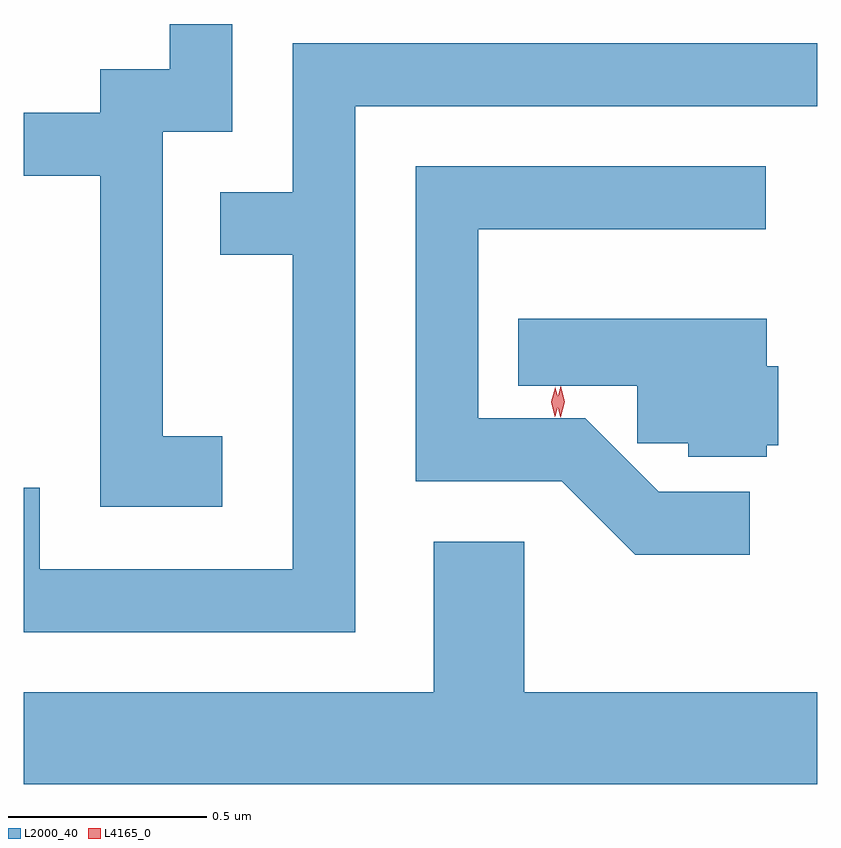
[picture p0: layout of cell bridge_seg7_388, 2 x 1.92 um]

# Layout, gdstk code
import gdstk
lib = gdstk.Library(unit=1e-6, precision=1e-09)
def P(c, l, *ps):  # polygons
    for p in ps: c.add(gdstk.Polygon(p, *l))
L2000_40 = (2000, 40)
L4165_0 = (4165, 0)

bridge_seg7_388 = lib.new_cell('bridge_seg7_388')
P(bridge_seg7_388, L2000_40, [(1104.669,1748.529),(1104.519,1748.529),(1104.519,1749.296),(1104.694,1749.296),(1104.694,1749.568),(1104.536,1749.568),(1104.536,1749.454),(1104.361,1749.454),(1104.361,1749.344),(1104.168,1749.344),(1104.168,1749.186),(1104.361,1749.186),(1104.361,1748.351),(1104.669,1748.351)],
  [(1105.004,1749.361),(1106.168,1749.361),(1106.168,1749.519),(1104.846,1749.519),(1104.846,1749.144),(1104.663,1749.144),(1104.663,1748.986),(1104.846,1748.986),(1104.846,1748.194),(1104.209,1748.194),(1104.209,1748.399),(1104.168,1748.399),(1104.168,1748.036),(1105.004,1748.036)],
  [(1105.998,1748.389),(1105.768,1748.389),(1105.583,1748.574),(1105.314,1748.574),(1105.314,1749.051),(1106.038,1749.051),(1106.038,1749.209),(1105.156,1749.209),(1105.156,1748.416),(1105.524,1748.416),(1105.709,1748.231),(1105.998,1748.231)],
  [(1106.04,1748.507),(1106.07,1748.507),(1106.07,1748.705),(1106.04,1748.705),(1106.04,1748.825),(1105.414,1748.825),(1105.414,1748.657),(1105.714,1748.657),(1105.714,1748.511),(1105.843,1748.511),(1105.843,1748.477),(1106.04,1748.477)],
  [(1106.168,1747.884),(1105.429,1747.884),(1105.429,1748.264),(1105.201,1748.264),(1105.201,1747.884),(1104.168,1747.884),(1104.168,1747.653),(1106.168,1747.653)])
P(bridge_seg7_388, L4165_0, [(1105.521,1748.577),(1105.52,1748.578),(1105.511,1748.616),(1105.521,1748.655),(1105.522,1748.655),(1105.522,1748.655),(1105.531,1748.616),(1105.521,1748.578)],
  [(1105.506,1748.579),(1105.506,1748.58),(1105.497,1748.616),(1105.507,1748.652),(1105.508,1748.653),(1105.508,1748.652),(1105.517,1748.616),(1105.507,1748.58)])

lib.write_gds('bridge_seg7_388.gds')
